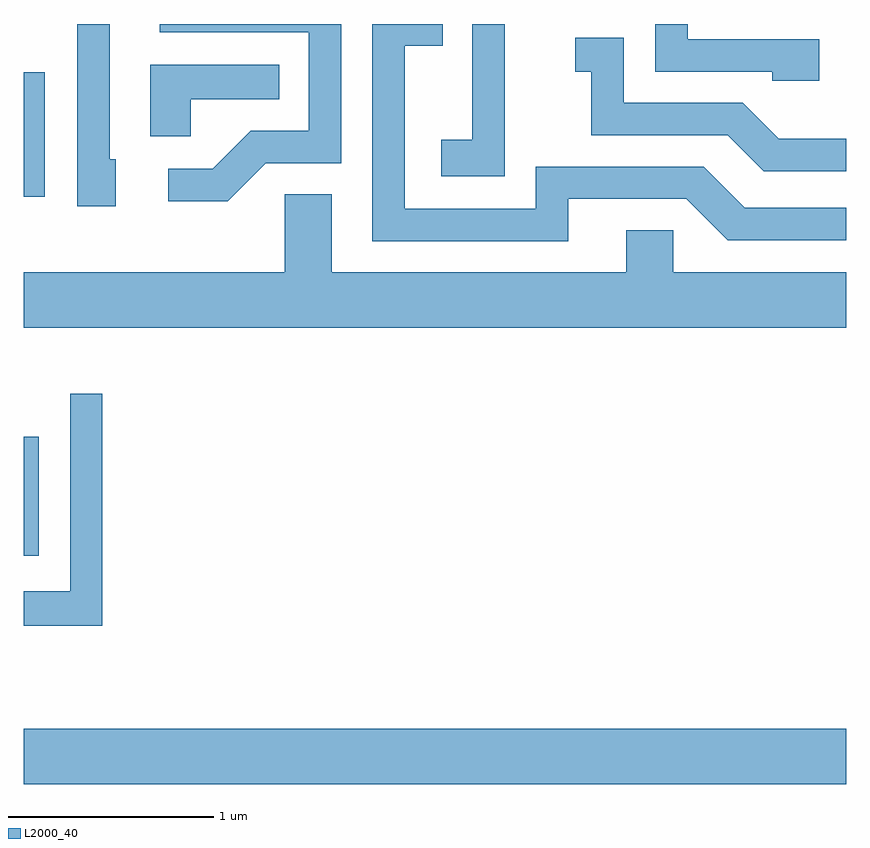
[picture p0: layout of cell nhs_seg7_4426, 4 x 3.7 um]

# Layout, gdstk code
import gdstk
lib = gdstk.Library(unit=1e-6, precision=1e-09)
def R(c, l, rs):  # rectangles x0, y0, x1, y1
    for r in rs: c.add(gdstk.rectangle(r[:2], r[2:], *l))
def P(c, l, *ps):  # polygons
    for p in ps: c.add(gdstk.Polygon(p, *l))
L2000_40 = (2000, 40)

nhs_seg7_4426 = lib.new_cell('nhs_seg7_4426')
R(nhs_seg7_4426, L2000_40, [(321.611,1696.556,325.611,1696.824), (321.611,1697.666,321.684,1698.244), (321.611,1699.411,321.714,1700.018)])
P(nhs_seg7_4426, L2000_40, [(323.949,1700.252),(323.791,1700.252),(323.791,1699.689),(323.641,1699.689),(323.641,1699.511),(323.949,1699.511)],
  [(325.479,1700.179),(324.839,1700.179),(324.839,1700.252),(324.681,1700.252),(324.681,1700.021),(325.251,1700.021),(325.251,1699.976),(325.479,1699.976)],
  [(322.787,1699.576),(323.154,1699.576),(323.154,1700.252),(322.273,1700.252),(322.273,1700.211),(322.996,1700.211),(322.996,1699.734),(322.714,1699.734),(322.529,1699.549),(322.313,1699.549),(322.313,1699.391),(322.602,1699.391)],
  [(322.059,1699.594),(322.029,1699.594),(322.029,1700.252),(321.871,1700.252),(321.871,1699.366),(322.059,1699.366)],
  [(324.259,1699.401),(324.834,1699.401),(325.034,1699.201),(325.611,1699.201),(325.611,1699.359),(325.117,1699.359),(324.917,1699.559),(324.101,1699.559),(324.101,1699.354),(323.464,1699.354),(323.464,1700.146),(323.648,1700.146),(323.648,1700.252),(323.306,1700.252),(323.306,1699.196),(324.259,1699.196)],
  [(325.611,1699.694),(325.282,1699.694),(325.107,1699.869),(324.529,1699.869),(324.529,1700.184),(324.293,1700.184),(324.293,1700.021),(324.371,1700.021),(324.371,1699.711),(325.034,1699.711),(325.209,1699.536),(325.611,1699.536)],
  [(322.424,1699.886),(322.853,1699.886),(322.853,1700.054),(322.226,1700.054),(322.226,1699.706),(322.424,1699.706)],
  [(325.611,1699.044),(324.769,1699.044),(324.769,1699.249),(324.541,1699.249),(324.541,1699.044),(323.109,1699.044),(323.109,1699.424),(322.881,1699.424),(322.881,1699.044),(321.611,1699.044),(321.611,1698.776),(325.611,1698.776)],
  [(321.994,1698.453),(321.836,1698.453),(321.836,1697.494),(321.611,1697.494),(321.611,1697.326),(321.994,1697.326)])

lib.write_gds('nhs_seg7_4426.gds')
